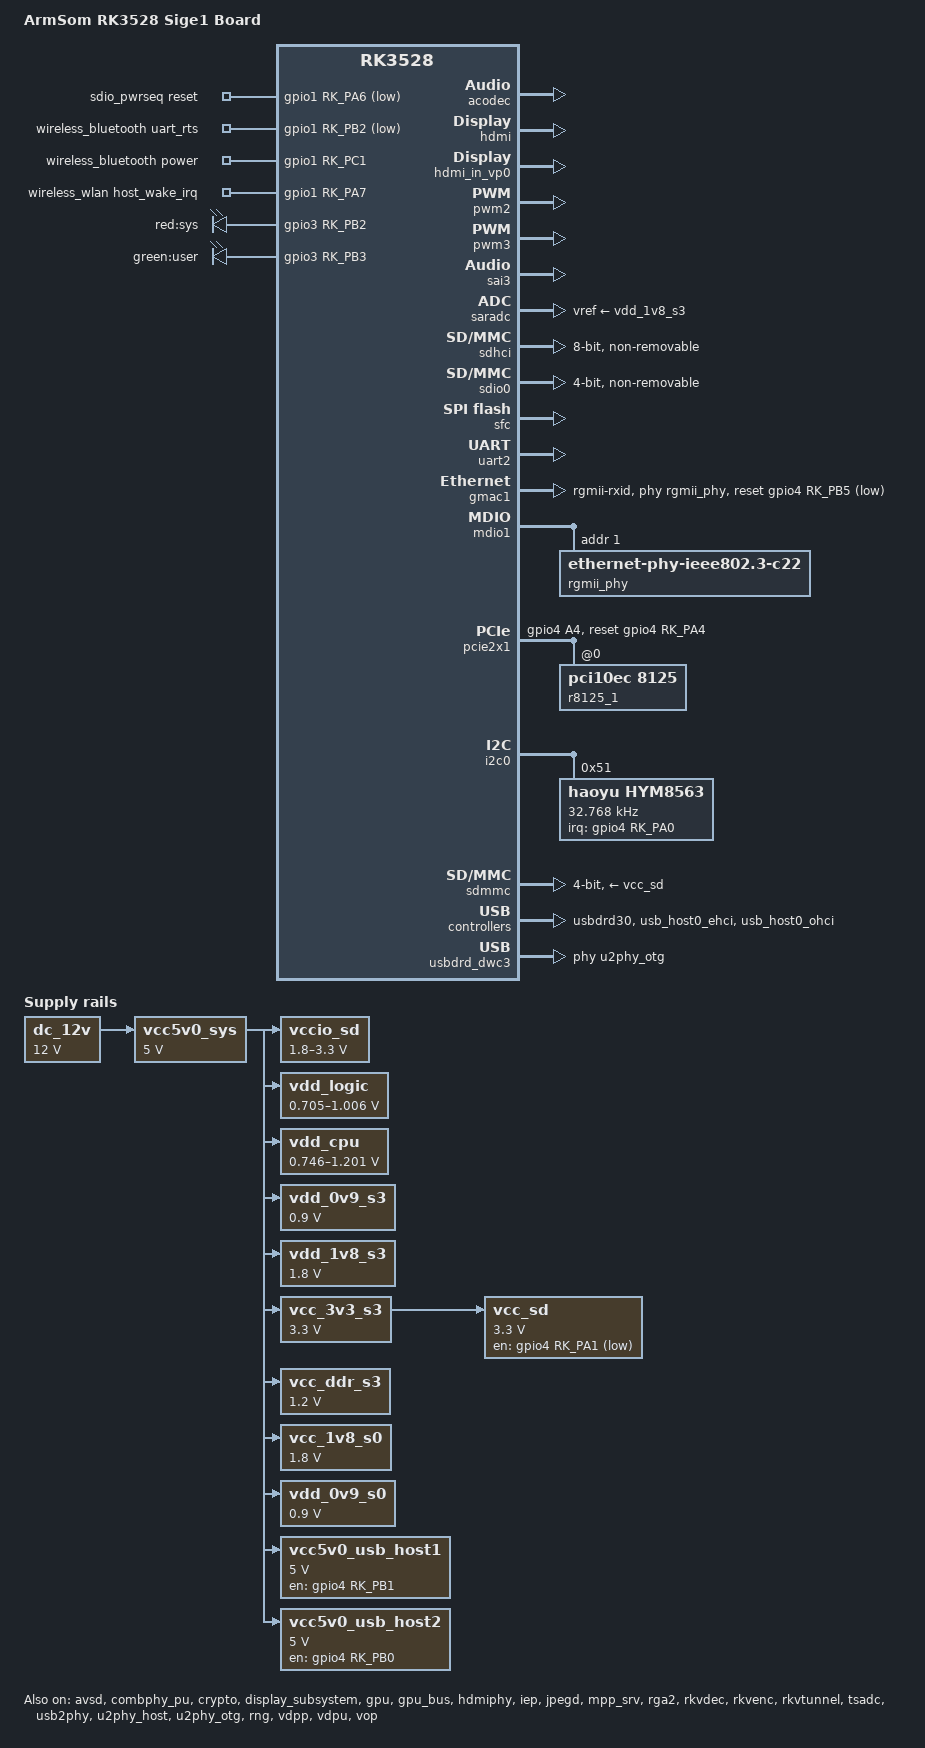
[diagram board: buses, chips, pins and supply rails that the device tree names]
// SPDX-License-Identifier: (GPL-2.0+ OR MIT)
/*
 * Copyright (c) 2022 Rockchip Electronics Co., Ltd.
 *
 */

/dts-v1/;

#include <dt-bindings/gpio/gpio.h>
#include <dt-bindings/input/rk-input.h>
#include <dt-bindings/pinctrl/rockchip.h>
#include "rk3528.dtsi"
#include "rk3528-linux.dtsi"
#include "rk3528-opp.dtsi"

/ {
	model = "ArmSom RK3528 Sige1 Board";
	compatible = "armsom,sige1-v1", "rockchip,rk3528";

	aliases {
		ethernet0 = &gmac1;
		/delete-property/ ethernet1;
		/* ethernet1 = &pcie-eth; */

		mmc0 = &sdmmc; // sdcard
		mmc1 = &sdhci; // emmc
		mmc2 = &sdio0; // sdio

		led-boot = &led_red;
		led-failsafe = &led_red;
		led-running = &led_red;
		led-upgrade = &led_red;
	};

	dc_12v: dc-12v {
		compatible = "regulator-fixed";
		regulator-name = "dc_12v";
		regulator-always-on;
		regulator-boot-on;
		regulator-min-microvolt = <12000000>;
		regulator-max-microvolt = <12000000>;
	};

	vcc5v0_sys: vcc5v0-sys {
		compatible = "regulator-fixed";
		regulator-name = "vcc5v0_sys";
		regulator-always-on;
		regulator-boot-on;
		regulator-min-microvolt = <5000000>;
		regulator-max-microvolt = <5000000>;
		vin-supply = <&dc_12v>;
	};

	/omit-if-no-ref/
	vccio_sd: vccio-sd {
		compatible = "regulator-gpio";
		regulator-name = "vccio_sd";
		regulator-min-microvolt = <1800000>;
		regulator-max-microvolt = <3300000>;
		regulator-ramp-delay = <1001>;
		gpios = <&gpio4 RK_PC2 GPIO_ACTIVE_HIGH>;
		vin-supply = <&vcc5v0_sys>;
		states = <1800000 0x0
			  3300000 0x1>;
	};

	vdd_logic: vdd-logic {
		compatible = "pwm-regulator";
		pwms = <&pwm2 0 5000 1>;
		regulator-name = "vdd_logic";
		regulator-min-microvolt = <705000>;
		regulator-max-microvolt = <1006000>;
		regulator-init-microvolt = <900000>;
		regulator-always-on;
		regulator-boot-on;
		regulator-ramp-delay = <6001>;
		regulator-settling-time-up-us = <250>;
		pwm-supply = <&vcc5v0_sys>;
		status = "okay";
	};

	vdd_cpu: vdd-cpu {
		compatible = "pwm-regulator";
		pwms = <&pwm3 0 5000 1>;
		regulator-name = "vdd_cpu";
		regulator-min-microvolt = <746000>;
		regulator-max-microvolt = <1201000>;
		regulator-init-microvolt = <953000>;
		regulator-always-on;
		regulator-boot-on;
		regulator-ramp-delay = <6001>;
		regulator-settling-time-up-us = <250>;
		pwm-supply = <&vcc5v0_sys>;
		status = "okay";
	};

	vdd_0v9_s3: vdd-0v9-s3 {
		compatible = "regulator-fixed";
		regulator-name = "vdd_0v9_s3";
		regulator-always-on;
		regulator-boot-on;
		regulator-min-microvolt = <900000>;
		regulator-max-microvolt = <900000>;
		vin-supply = <&vcc5v0_sys>;
	};

	vdd_1v8_s3: vdd-1v8-s3 {
		compatible = "regulator-fixed";
		regulator-name = "vdd_1v8_s3";
		regulator-always-on;
		regulator-boot-on;
		regulator-min-microvolt = <1800000>;
		regulator-max-microvolt = <1800000>;
		vin-supply = <&vcc5v0_sys>;
	};

	vcc_3v3_s3: vcc-3v3-s3 {
		compatible = "regulator-fixed";
		regulator-name = "vcc_3v3_s3";
		regulator-always-on;
		regulator-boot-on;
		regulator-min-microvolt = <3300000>;
		regulator-max-microvolt = <3300000>;
		vin-supply = <&vcc5v0_sys>;
	};

	/omit-if-no-ref/
	vcc_sd: vcc-sd {
		compatible = "regulator-fixed";
		gpio = <&gpio4 RK_PA1 GPIO_ACTIVE_LOW>;
		regulator-name = "vcc_sd";
		regulator-min-microvolt = <3300000>;
		regulator-max-microvolt = <3300000>;
		vin-supply = <&vcc_3v3_s3>;
	};

	vcc_ddr_s3: vcc-ddr-s3 {
		compatible = "regulator-fixed";
		regulator-name = "vcc_ddr_s3";
		regulator-always-on;
		regulator-boot-on;
		regulator-min-microvolt = <1200000>;
		regulator-max-microvolt = <1200000>;
		vin-supply = <&vcc5v0_sys>;
	};

	hdmi_sound: hdmi-sound {
		compatible = "rockchip,hdmi";
		rockchip,mclk-fs = <128>;
		rockchip,card-name = "rockchip,hdmi";
		rockchip,cpu = <&sai3>;
		rockchip,codec = <&hdmi>;
		rockchip,jack-det;
	};

	vcc_1v8_s0: vcc-1v8-s0 {
		compatible = "regulator-fixed";
		regulator-name = "vcc_1v8_s0";
		regulator-always-on;
		regulator-boot-on;
		regulator-min-microvolt = <1800000>;
		regulator-max-microvolt = <1800000>;
		vin-supply = <&vcc5v0_sys>;
	};

	vdd_0v9_s0: vdd-0v9-s0 {
		compatible = "regulator-fixed";
		regulator-name = "vdd_0v9_s0";
		regulator-always-on;
		regulator-boot-on;
		regulator-min-microvolt = <900000>;
		regulator-max-microvolt = <900000>;
		vin-supply = <&vcc5v0_sys>;
	};
	
	vcc5v0_usb_host1: vcc5v0-usb-host1 {
		compatible = "regulator-fixed";
		regulator-name = "vcc5v0_usb_host1";
		regulator-boot-on;
		regulator-always-on;
		regulator-min-microvolt = <5000000>;
		regulator-max-microvolt = <5000000>;
		enable-active-high;
		gpio = <&gpio4 RK_PB1 GPIO_ACTIVE_HIGH>;
		vin-supply = <&vcc5v0_sys>;
		pinctrl-names = "default";
		pinctrl-0 = <&usb_host1_pwren>;
	};

	vcc5v0_usb_host2: vcc5v0-usb-host2 {
		compatible = "regulator-fixed";
		regulator-name = "vcc5v0_usb_host2";
		regulator-boot-on;
		regulator-always-on;
		regulator-min-microvolt = <5000000>;
		regulator-max-microvolt = <5000000>;
		enable-active-high;
		gpio = <&gpio4 RK_PB0 GPIO_ACTIVE_HIGH>;
		vin-supply = <&vcc5v0_sys>;
		pinctrl-names = "default";
		pinctrl-0 = <&usb_host2_pwren>;
	};

	sdio_pwrseq: sdio-pwrseq {
		compatible = "mmc-pwrseq-simple";
		pinctrl-names = "default";
		pinctrl-0 = <&wifi_enable_h &clkm1_32k_out>;
		reset-gpios = <&gpio1 RK_PA6 GPIO_ACTIVE_LOW>;
	};

	wireless_bluetooth: wireless-bluetooth {
		compatible = "bluetooth-platdata";
		//wifi-bt-power-toggle;
		uart_rts_gpios = <&gpio1 RK_PB2 GPIO_ACTIVE_LOW>;
		pinctrl-names = "default", "rts_gpio";
		pinctrl-0 = <&uart2m1_rtsn>;
		pinctrl-1 = <&uart2m1_rts_gpio>;
		BT,power_gpio = <&gpio1 RK_PC1 GPIO_ACTIVE_HIGH>;
		//BT,wake_host_irq = <&gpio1 RK_PC2 GPIO_ACTIVE_HIGH>;
		status = "okay";
	};

	wireless_wlan: wireless-wlan {
		compatible = "wlan-platdata";
		rockchip,grf = <&grf>;
		wifi_chip_type = "rtl8852bs";
		pinctrl-names = "default";
		pinctrl-0 = <&wifi_host_wake_irq>;
		//WIFI,poweren_gpio = <&gpio1 RK_PA6 GPIO_ACTIVE_HIGH>;
		WIFI,host_wake_irq = <&gpio1 RK_PA7 GPIO_ACTIVE_HIGH>;
		status = "okay";
	};

	leds {
		compatible = "gpio-leds";
		pinctrl-names = "default";
		pinctrl-0 =
			<&led_red_en>,
			<&led_green_en>;

		led_red: led-red {
			gpios = <&gpio3 RK_PB2 GPIO_ACTIVE_HIGH>;
			label = "red:sys";
			linux,default-trigger = "heartbeat";
		};
		led-green {
			gpios = <&gpio3 RK_PB3 GPIO_ACTIVE_HIGH>;
			label = "green:user";
		};
	};
};

&acodec {
	pa-ctl-gpios = <&gpio0 RK_PA0 GPIO_ACTIVE_HIGH>;
	status = "okay";
};

&avsd {
	status = "okay";
};

&combphy_pu {
	status = "okay";
};

&cpu0 {
	cpu-supply = <&vdd_cpu>;
};

&crypto {
	status = "okay";
};

&dfi {
	status = "disabled";
};

&display_subsystem {
	status = "okay";
};

&dmc {
	center-supply = <&vdd_logic>;
	status = "disabled";
};

&gpu {
	mali-supply = <&vdd_logic>;
	status = "okay";
};

&gpu_bus {
	bus-supply = <&vdd_logic>;
	status = "okay";
};

&hdmi {
	status = "okay";
};

&hdmi_in_vp0 {
	status = "okay";
};

&hdmiphy {
	status = "okay";
};

&iep {
	status = "okay";
};

&iep_mmu {
	status = "okay";
};

&jpegd {
	status = "okay";
};

&jpegd_mmu {
	status = "okay";
};

&mpp_srv {
	status = "okay";
};

&pwm2 {
	status = "okay";
};

&pwm3 {
	status = "okay";
};

&rga2 {
	status = "okay";
};

&rga2_mmu {
	status = "okay";
};

&rkvdec {
	status = "okay";
};

&rkvdec_mmu {
	status = "okay";
};

&rkvenc {
	status = "okay";
};

&rkvenc_mmu {
	status = "okay";
};

&rkvtunnel {
	status = "okay";
};

&sai3 {
	status = "okay";
};

&saradc {
	status = "okay";
	vref-supply = <&vdd_1v8_s3>;
};

&sdhci {
	bus-width = <8>;
	no-sd;
	no-sdio;
	non-removable;
	mmc-hs400-1_8v;
	mmc-hs400-enhanced-strobe;
	max-frequency = <200000000>;
	status = "okay";
};

&sai0 {
	pinctrl-0 = <&i2s0m1_lrck &i2s0m1_sclk &i2s0m1_sdi &i2s0m1_sdo>;
	status = "disabled";
};

&sdio0 {
	max-frequency = <200000000>;
	no-sd;
	no-mmc;
	supports-sdio;
	bus-width = <4>;
	disable-wp;
	cap-sd-highspeed;
	cap-sdio-irq;
	keep-power-in-suspend;
	non-removable;
	mmc-pwrseq = <&sdio_pwrseq>;
	pinctrl-names = "default";
	pinctrl-0 = <&sdio0_bus4 &sdio0_cmd &sdio0_clk>;
	sd-uhs-sdr104;
	status = "okay";
};

&sfc {
	status = "okay";
};

&spdif_8ch {
	status = "disabled";
};

&tsadc {
	status = "okay";
};

&tve {
	status = "disabled";
};

&tve_in_vp1 {
	status = "disabled";
};


&uart2 {
	status = "okay";
	pinctrl-names = "default";
	pinctrl-0 = <&uart2m1_xfer &uart2m1_ctsn>;
};

&gmac1 {
	/* Use rgmii-rxid mode to disable rx delay inside Soc */
	phy-mode = "rgmii-rxid";
	clock_in_out = "output";

	snps,reset-gpio = <&gpio4 RK_PB5 GPIO_ACTIVE_LOW>;
	snps,reset-active-low;
	/* Reset time is 20ms, 100ms for rtl8211f */
	snps,reset-delays-us = <0 20000 100000>;

	tx_delay = <0x30>;
	/* rx_delay = <0x3f>; */

	pinctrl-names = "default";
	pinctrl-0 = <&rgmii_miim
		     &rgmii_tx_bus2
		     &rgmii_rx_bus2
		     &rgmii_rgmii_clk
		     &rgmii_rgmii_bus
		     &eth_pins>;

	phy-handle = <&rgmii_phy>;
	status = "okay";
};


&mdio1 {
	rgmii_phy: phy@1 {
		compatible = "ethernet-phy-ieee802.3-c22";
		reg = <0x1>;
		realtek,led-data = <0x6c0b>;
	};
};

&combphy_pu {
	rockchip,dis-u3otg0-port; /* disable USB3.0 */
};

&pcie2x1 {
	reset-gpios = <&gpio4 RK_PA4 GPIO_ACTIVE_HIGH>;
	pinctrl-names = "default";
	pinctrl-0 = <&wifi_perst>;
	status = "okay";

	pcie@0,0 {
		reg = <0x00000000 0 0 0 0>;
		#address-cells = <3>;
		#size-cells = <2>;

		r8125_1: pcie@10,0 {
			compatible = "pci10ec,8125";
			reg = <0x000000 0 0 0 0>;

			realtek,led-data = <0x2b 0x200 0x0 0x0>;
		};
	};
};

&i2c0 {
	status = "okay";
	hym8563: hym8563@51 {
		compatible = "haoyu,hym8563";
		reg = <0x51>;
		#clock-cells = <0>;
		clock-frequency = <32768>;
		clock-output-names = "hym8563";
		pinctrl-names = "default";
		pinctrl-0 = <&hym8563_int>;
		interrupt-parent = <&gpio4>;
		interrupts = <RK_PA0 IRQ_TYPE_LEVEL_LOW>;
	};
};


&pinctrl {
	sdio-pwrseq {
		wifi_enable_h: wifi-enable-h {
			rockchip,pins = <1 RK_PA6 RK_FUNC_GPIO &pcfg_pull_none>;
		};
	};

	wireless-wlan {
		wifi_perst: wifi-perst {
			rockchip,pins = <4 RK_PA4 RK_FUNC_GPIO &pcfg_pull_up>;
		};
		wifi_poweren_gpio: wifi-poweren-gpio {
			rockchip,pins = <1 RK_PA6 RK_FUNC_GPIO &pcfg_pull_down>;
		};
		wifi_host_wake_irq: wifi-host-wake-irq {
			rockchip,pins = <1 RK_PA7 RK_FUNC_GPIO &pcfg_pull_down>;
		};
	};

	wireless-bluetooth {
		uart2m1_rts_gpio: uart2m1-rts-gpio {
			rockchip,pins = <1 RK_PB2 RK_FUNC_GPIO &pcfg_pull_none>;
		};
	};
	hym8563 {
		hym8563_int: hym8563-int {
			rockchip,pins = <4 RK_PA0 RK_FUNC_GPIO &pcfg_pull_none>;
		};
	};
	usb {
		usb_host1_pwren: usb-host1-pwren {
			rockchip,pins = <4 RK_PB1 RK_FUNC_GPIO &pcfg_pull_none>;
		};

		usb_host2_pwren: usb-host2-pwren {
			rockchip,pins = <4 RK_PB0 RK_FUNC_GPIO &pcfg_pull_none>;
		};
	};
	fan {
		fan_en: fan-en {
			rockchip,pins = <3 RK_PC1 RK_FUNC_GPIO &pcfg_pull_none>;
		};
	};
	led {
		led_red_en: led-red-en {
			rockchip,pins = <3 RK_PB2 RK_FUNC_GPIO &pcfg_pull_none>;
		};
		led_green_en: led-green-en {
			rockchip,pins = <3 RK_PB3 RK_FUNC_GPIO &pcfg_pull_none>;
		};
	};
};

&sdmmc {
	bus-width = <4>;
	cap-mmc-highspeed;
	cap-sd-highspeed;
	disable-wp;
	max-frequency = <150000000>;
	pinctrl-names = "default";
	pinctrl-0 = <&sdmmc_clk &sdmmc_cmd &sdmmc_det &sdmmc_bus4>;
	rockchip,default-sample-phase = <90>;
	supports-sd;
	sd-uhs-sdr12;
	sd-uhs-sdr25;
	sd-uhs-sdr50;
	sd-uhs-sdr104;
	vqmmc-supply = <&vccio_sd>;
	vmmc-supply = <&vcc_sd>;
	status = "okay";
};

&usb2phy {
	status = "okay";
};

&u2phy_host {
	status = "okay";
	phy-supply = <&vcc5v0_sys>;
};

&u2phy_otg {
	status = "okay";
	vbus-supply = <&vcc5v0_sys>;
};

&usbdrd30 {
	status = "okay";
};

&usbdrd_dwc3 {
	// Only USB2.0 START
	extcon = <&usb2phy>;
	phys = <&u2phy_otg>;
	phy-names = "usb2-phy";
	maximum-speed = "high-speed";
	snps,dis_u2_susphy_quirk;
	// Only USB2.0 END
	snps,usb2-lpm-disable;
	status = "okay";
};

&usb_host0_ehci {
	status = "okay";
};

&usb_host0_ohci {
	status = "okay";
};

&rng {
	status = "okay";
};

&vdpp {
	status = "okay";
};

&vdpu {
	status = "okay";
};

&vdpu_mmu {
	status = "okay";
};

&vop {
	status = "okay";
};

&vop_mmu {
	status = "okay";
};
